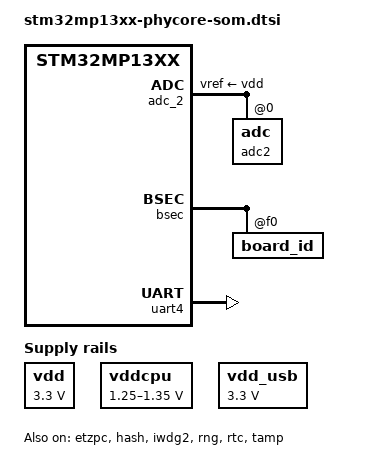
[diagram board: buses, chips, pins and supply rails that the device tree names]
// SPDX-License-Identifier: (GPL-2.0+ OR BSD-3-Clause)
/*
 * Copyright (C) 2023 PHYTEC Messtechnik GmbH
 * Author: Christophe Parant <c.parant@phytec.fr>
 */

#include "stm32mp13xx-phycore-som-pinctrl.dtsi"
#include <dt-bindings/soc/stm32mp13-etzpc.h>
#include <dt-bindings/soc/stm32mp-tzc400-macro.h>
#include <dt-bindings/soc/stm32mp13-tzc400.h>
#include <dt-bindings/power/stm32mp1-power.h>

/ {

	aliases {
		serial0 = &uart4;
	};

	chosen {
		stdout-path = "serial0:115200n8";
	};

	vdd: vdd {
		compatible = "regulator-fixed";
		regulator-name = "vdd";
		regulator-min-microvolt = <3300000>;
		regulator-max-microvolt = <3300000>;
		regulator-always-on;
	};

	vddcpu: vddcpu {
		compatible = "regulator-fixed";
		regulator-name = "vddcpu";
		regulator-min-microvolt = <1250000>;
		regulator-max-microvolt = <1350000>;
		regulator-always-on;
	};

	vdd_usb: vdd_usb {
		compatible = "regulator-fixed";
		regulator-name = "vdd_usb";
		regulator-min-microvolt = <3300000>;
		regulator-max-microvolt = <3300000>;
	};
};

&adc_2 {
	vdda-supply = <&vdd>;
	vref-supply = <&vdd>;
	status = "okay";

	adc2: adc@0 {
		status = "okay";

		channel@15 {
			reg = <15>;
			label = "vbat";
		};
	};
};

&bsec {
	board_id: board_id@f0 {
		reg = <0xf0 0x4>;
		st,non-secure-otp;
	};
};

&etzpc{
	status = "okay";
	st,decprot = <
	/*"Non Secured" peripherals*/
	DECPROT(STM32MP1_ETZPC_CRYP_ID, DECPROT_NS_RW, DECPROT_UNLOCK)
	DECPROT(STM32MP1_ETZPC_DCMIPP_ID, DECPROT_NS_RW, DECPROT_UNLOCK)
	DECPROT(STM32MP1_ETZPC_ETH1_ID, DECPROT_NS_RW, DECPROT_UNLOCK)
	DECPROT(STM32MP1_ETZPC_ETH2_ID, DECPROT_NS_RW, DECPROT_UNLOCK)
	DECPROT(STM32MP1_ETZPC_I2C5_ID, DECPROT_NS_RW, DECPROT_UNLOCK)
	DECPROT(STM32MP1_ETZPC_LTDC_ID, DECPROT_NS_RW, DECPROT_UNLOCK)
	DECPROT(STM32MP1_ETZPC_SDMMC1_ID, DECPROT_NS_RW, DECPROT_UNLOCK)
	DECPROT(STM32MP1_ETZPC_SDMMC2_ID, DECPROT_NS_RW, DECPROT_UNLOCK)
	DECPROT(STM32MP1_ETZPC_USART2_ID, DECPROT_NS_RW, DECPROT_UNLOCK)
	DECPROT(STM32MP1_ETZPC_OTG_ID, DECPROT_NS_RW, DECPROT_UNLOCK)
	DECPROT(STM32MP1_ETZPC_USBPHYCTRL_ID, DECPROT_NS_RW, DECPROT_UNLOCK)
	DECPROT(STM32MP1_ETZPC_SRAM1_ID, DECPROT_NS_RW, DECPROT_UNLOCK)
	DECPROT(STM32MP1_ETZPC_SRAM2_ID, DECPROT_NS_RW, DECPROT_UNLOCK)
	/*"NS_R S_W" peripherals*/
	DECPROT(STM32MP1_ETZPC_DDRCTRLPHY_ID, DECPROT_NS_R_S_W, DECPROT_LOCK)
	/*"Secured" peripherals*/
	DECPROT(STM32MP1_ETZPC_ADC2_ID, DECPROT_S_RW, DECPROT_UNLOCK)
	DECPROT(STM32MP1_ETZPC_HASH_ID, DECPROT_S_RW, DECPROT_UNLOCK)
	DECPROT(STM32MP1_ETZPC_PKA_ID, DECPROT_S_RW, DECPROT_UNLOCK)
	DECPROT(STM32MP1_ETZPC_RNG_ID, DECPROT_S_RW, DECPROT_UNLOCK)
	DECPROT(STM32MP1_ETZPC_SAES_ID, DECPROT_S_RW, DECPROT_UNLOCK)
	DECPROT(STM32MP1_ETZPC_STGENC_ID, DECPROT_S_RW, DECPROT_UNLOCK)
	DECPROT(STM32MP1_ETZPC_SRAM3_ID, DECPROT_S_RW, DECPROT_UNLOCK)
	DECPROT(STM32MP1_ETZPC_BKPSRAM_ID, DECPROT_S_RW, DECPROT_UNLOCK)
	>;
};

&cpu0{
	cpu-supply = <&vddcpu>;
};

&hash {
	status = "okay";
};

&iwdg2 {
	timeout-sec = <32>;
	status = "okay";
};

&pwr_regulators {
	system_off_soc_mode = <STM32_PM_SHUTDOWN>;

	vdd-supply = <&vdd>;
	vdd_3v3_usbfs-supply = <&vdd_usb>;
};

&scmi_regu {
	scmi_vddcpu: voltd-vddcpu {
		voltd-name = "vddcpu";
		regulator-name = "vddcpu";
	};
	scmi_vdd: voltd-vdd {
		voltd-name = "vdd";
		regulator-name = "vdd";
	};
	scmi_vdd_usb: volt-vdd_usb {
		voltd-name = "vdd_usb";
		regulator-name = "vdd_usb";
	};
};

&rcc{
	compatible = "st,stm32mp13-rcc", "syscon", "st,stm32mp13-rcc-mco";
	pinctrl-names = "default";
	pinctrl-0 = <&rcc_pins_mx>;
	status = "okay";

	st,clksrc = <
		CLK_MPU_PLL1P
		CLK_AXI_PLL2P
		CLK_MLAHBS_PLL3
		CLK_RTC_LSE
		CLK_MCO1_HSE
		CLK_MCO2_DISABLED
		CLK_CKPER_HSE
		CLK_ETH1_PLL4P
		CLK_ETH2_PLL4P
		CLK_SDMMC1_PLL4P
		CLK_SDMMC2_PLL4P
		CLK_STGEN_HSE
		CLK_USBPHY_HSE
		CLK_SPI1_PLL4P
		CLK_USBO_USBPHY
		CLK_ADC2_CKPER
		CLK_I2C5_HSI
		CLK_UART2_HSI
		CLK_UART4_HSI
		CLK_UART78_HSI
		CLK_FDCAN_HSE
		CLK_SAI1_PLL3Q
		CLK_RNG1_PLL4R
		CLK_SAES_AXI
		CLK_DCMIPP_PLL2Q
	>;

	st,clkdiv = <
		DIV(DIV_MPU, 1)
		DIV(DIV_AXI, 0)
		DIV(DIV_MLAHB, 0)
		DIV(DIV_APB1, 1)
		DIV(DIV_APB2, 1)
		DIV(DIV_APB3, 1)
		DIV(DIV_APB4, 1)
		DIV(DIV_APB5, 2)
		DIV(DIV_APB6, 1)
		DIV(DIV_RTC, 0)
		DIV(DIV_MCO1, 0)
		DIV(DIV_MCO2, 0)
	>;

	st,pll_vco {
		pll1_vco_1300Mhz: pll1-vco-1300Mhz {
			src = < CLK_PLL12_HSE >;
			divmn = < 2 80 >;
			frac = < 0x800 >;
		};
		pll2_vco_1066Mhz: pll2-vco-1066Mhz {
			src = < CLK_PLL12_HSE >;
			divmn = < 2 65 >;
			frac = < 0x1400 >;
		};
		pll3_vco_417Mhz: pll3-vco-417Mhz {
			src = < CLK_PLL3_HSE >;
			divmn = < 1 33 >;
			frac = < 0x1a04 >;
		};
		pll4_vco_600Mhz: pll4-vco-600Mhz {
			src = < CLK_PLL4_HSE >;
			divmn = < 1 49 >;
		};
	};

	pll1:st,pll@0 {
		compatible = "st,stm32mp1-pll";
		reg = <0>;

		st,pll = < &pll1_cfg1 >;

		pll1_cfg1: pll1_cfg1 {
			st,pll_vco = < &pll1_vco_1300Mhz >;
			st,pll_div_pqr = < 0 1 1 >;
		};
	};

	pll2:st,pll@1 {
		compatible = "st,stm32mp1-pll";
		reg = <1>;

		st,pll = < &pll2_cfg1 >;

		pll2_cfg1: pll2_cfg1 {
			st,pll_vco = < &pll2_vco_1066Mhz >;
			st,pll_div_pqr = < 1 1 0 >;
		};
	};

	pll3:st,pll@2 {
		compatible = "st,stm32mp1-pll";
		reg = <2>;

		st,pll = < &pll3_cfg1 >;

		pll3_cfg1: pll3_cfg1 {
			st,pll_vco = < &pll3_vco_417Mhz >;
			st,pll_div_pqr = < 1 16 36 >;
		};
	};

	pll4:st,pll@3 {
		compatible = "st,stm32mp1-pll";
		reg = <3>;

		st,pll = < &pll4_cfg1 >;

		pll4_cfg1: pll4_cfg1 {
			st,pll_vco = < &pll4_vco_600Mhz >;
			st,pll_div_pqr = < 11 59 11 >;
		};
	};

	st,clk_opp {
		/* CK_MPU clock config for MP13 */
		st,ck_mpu {

			cfg_1 {
				hz = < 650000000 >;
				st,clksrc = < CLK_MPU_PLL1P >;
				st,pll = < &pll1_cfg1 >;
			};
		};

		/* CK_AXI clock config for MP13 */
		st,ck_axi {

			cfg_1 {
				hz = < 266500000 >;
				st,clksrc = < CLK_AXI_PLL2P >;
				st,clkdiv = < DIV(DIV_AXI, 0) >;
				st,pll = < &pll2_cfg1 >;
			};
		};

		/* CK_MLAHBS clock config for MP13 */
		st,ck_mlahbs {

			cfg_1 {
				hz = < 208877929 >;
				st,clksrc = < CLK_MLAHBS_PLL3 >;
				st,clkdiv = < DIV(DIV_MLAHB, 0) >;
				st,pll = < &pll3_cfg1 >;
			};
		};

	};
};

&rng{
	status = "okay";
};

&rtc{
	status = "okay";
};

&tamp{
	status = "okay";
};

&uart4{
	pinctrl-names = "default";
	pinctrl-0 = <&uart4_pins_mx>;
	status = "okay";
};

&pwr_regulators {
	system_suspend_supported_soc_modes = <
		STM32_PM_CSLEEP_RUN
		STM32_PM_CSTOP_ALLOW_LP_STOP
		STM32_PM_CSTOP_ALLOW_LPLV_STOP
		STM32_PM_CSTOP_ALLOW_STANDBY_DDR_SR
	>;
	system_off_soc_mode = <STM32_PM_CSTOP_ALLOW_STANDBY_DDR_OFF>;
	vdd-supply = <&vdd>;
};
